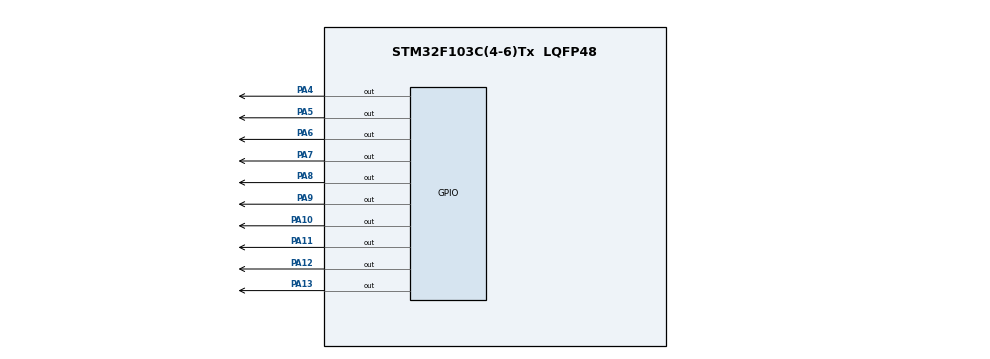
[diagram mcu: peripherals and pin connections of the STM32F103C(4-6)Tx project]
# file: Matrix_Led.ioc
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Mcu.Family=STM32F1
PD1-OSC_OUT.Mode=HSE-External-Oscillator
PD0-OSC_IN.Signal=RCC_OSC_IN
VP_SYS_VS_ND.Mode=No_Debug
ProjectManager.StackSize=0x400
PD1-OSC_OUT.Signal=RCC_OSC_OUT
PA13.Signal=GPIO_Output
PA12.Signal=GPIO_Output
ProjectManager.TargetToolchain=STM32CubeIDE
PA9.Signal=GPIO_Output
PD0-OSC_IN.Mode=HSE-External-Oscillator
PA5.Signal=GPIO_Output
board=custom
RCC.APB2Freq_Value=8000000
PA8.Signal=GPIO_Output
Mcu.Name=STM32F103C(4-6)Tx
PA4.Signal=GPIO_Output
Mcu.Package=LQFP48
PA6.Signal=GPIO_Output
PA11.Signal=GPIO_Output
PA10.Signal=GPIO_Output
ProjectManager.HeapSize=0x200
NVIC.PriorityGroup=NVIC_PRIORITYGROUP_4
RCC.APB1Freq_Value=8000000
PA7.Signal=GPIO_Output

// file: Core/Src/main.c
/* USER CODE BEGIN Header */
/**
  ******************************************************************************
  * @file           : main.c
  * @brief          : Main program body
  ******************************************************************************
  * @attention
  *
  * <h2><center>&copy; Copyright (c) 2021 STMicroelectronics.
  * All rights reserved.</center></h2>
  *
  * This software component is licensed by ST under BSD 3-Clause license,
  * the "License"; You may not use this file except in compliance with the
  * License. You may obtain a copy of the License at:
  *                        opensource.org/licenses/BSD-3-Clause
  *
  ******************************************************************************
  */
/* USER CODE END Header */
#include "main.h"

/* USER CODE BEGIN PV */
void clearAllClock()
{
	HAL_GPIO_WritePin(GPIOA, GPIO_PIN_4, 0);
	HAL_GPIO_WritePin(GPIOA, GPIO_PIN_5, 0);
	HAL_GPIO_WritePin(GPIOA, GPIO_PIN_6, 0);
	HAL_GPIO_WritePin(GPIOA, GPIO_PIN_7, 0);
	HAL_GPIO_WritePin(GPIOA, GPIO_PIN_8, 0);
	HAL_GPIO_WritePin(GPIOA, GPIO_PIN_9, 1);
	HAL_GPIO_WritePin(GPIOA, GPIO_PIN_10, 1);
	HAL_GPIO_WritePin(GPIOA, GPIO_PIN_11, 1);
	HAL_GPIO_WritePin(GPIOA, GPIO_PIN_12, 1);
	HAL_GPIO_WritePin(GPIOA, GPIO_PIN_13, 1);
}

void setNumberOnClock(int num)
{
	switch(num)
	{
	case 0:
		HAL_GPIO_WritePin(GPIOA, GPIO_PIN_6, 1);
		HAL_GPIO_WritePin(GPIOA, GPIO_PIN_9, 0);
		break;
	case 1:
		HAL_GPIO_WritePin(GPIOA, GPIO_PIN_7, 1);
		HAL_GPIO_WritePin(GPIOA, GPIO_PIN_9, 0);
		break;
	case 2:
			HAL_GPIO_WritePin(GPIOA, GPIO_PIN_8, 1);
			HAL_GPIO_WritePin(GPIOA, GPIO_PIN_10, 0);
			break;
	case 3:
			HAL_GPIO_WritePin(GPIOA, GPIO_PIN_8, 1);
			HAL_GPIO_WritePin(GPIOA, GPIO_PIN_11, 0);
			break;
	case 4:
			HAL_GPIO_WritePin(GPIOA, GPIO_PIN_8, 1);
			HAL_GPIO_WritePin(GPIOA, GPIO_PIN_12, 0);
			break;
	case 5:
			HAL_GPIO_WritePin(GPIOA, GPIO_PIN_7, 1);
			HAL_GPIO_WritePin(GPIOA, GPIO_PIN_13, 0);
			break;
	case 6:
			HAL_GPIO_WritePin(GPIOA, GPIO_PIN_6, 1);
			HAL_GPIO_WritePin(GPIOA, GPIO_PIN_13, 0);
			break;
	case 7:
			HAL_GPIO_WritePin(GPIOA, GPIO_PIN_5, 1);
			HAL_GPIO_WritePin(GPIOA, GPIO_PIN_13, 0);
			break;
	case 8:
			HAL_GPIO_WritePin(GPIOA, GPIO_PIN_4, 1);
			HAL_GPIO_WritePin(GPIOA, GPIO_PIN_12, 0);
			break;
	case 9:
			HAL_GPIO_WritePin(GPIOA, GPIO_PIN_4, 1);
			HAL_GPIO_WritePin(GPIOA, GPIO_PIN_11, 0);
			break;
	case 10:
			HAL_GPIO_WritePin(GPIOA, GPIO_PIN_4, 1);
			HAL_GPIO_WritePin(GPIOA, GPIO_PIN_10, 0);
			break;
	case 11:
			HAL_GPIO_WritePin(GPIOA, GPIO_PIN_5, 1);
			HAL_GPIO_WritePin(GPIOA, GPIO_PIN_9, 0);
			break;
	default:
			break;
	}
}
void clearNumberOnClock(int num)
{
	switch(num)
	{
	case 0:
		HAL_GPIO_WritePin(GPIOA, GPIO_PIN_6, 0);
		HAL_GPIO_WritePin(GPIOA, GPIO_PIN_9, 0);
		break;
	case 1:
		HAL_GPIO_WritePin(GPIOA, GPIO_PIN_7, 0);
		HAL_GPIO_WritePin(GPIOA, GPIO_PIN_9, 0);
		break;
	case 2:
			HAL_GPIO_WritePin(GPIOA, GPIO_PIN_8, 0);
			HAL_GPIO_WritePin(GPIOA, GPIO_PIN_10, 0);
			break;
	case 3:
			HAL_GPIO_WritePin(GPIOA, GPIO_PIN_8, 0);
			HAL_GPIO_WritePin(GPIOA, GPIO_PIN_11, 0);
			break;
	case 4:
			HAL_GPIO_WritePin(GPIOA, GPIO_PIN_8, 0);
			HAL_GPIO_WritePin(GPIOA, GPIO_PIN_12, 0);
			break;
	case 5:
			HAL_GPIO_WritePin(GPIOA, GPIO_PIN_7, 0);
			HAL_GPIO_WritePin(GPIOA, GPIO_PIN_13, 0);
			break;
	case 6:
			HAL_GPIO_WritePin(GPIOA, GPIO_PIN_6, 0);
			HAL_GPIO_WritePin(GPIOA, GPIO_PIN_13, 0);
			break;
	case 7:
			HAL_GPIO_WritePin(GPIOA, GPIO_PIN_5, 0);
			HAL_GPIO_WritePin(GPIOA, GPIO_PIN_13, 0);
			break;
	case 8:
			HAL_GPIO_WritePin(GPIOA, GPIO_PIN_4, 0);
			HAL_GPIO_WritePin(GPIOA, GPIO_PIN_12, 0);
			break;
	case 9:
			HAL_GPIO_WritePin(GPIOA, GPIO_PIN_4, 0);
			HAL_GPIO_WritePin(GPIOA, GPIO_PIN_11, 0);
			break;
	case 10:
			HAL_GPIO_WritePin(GPIOA, GPIO_PIN_4, 0);
			HAL_GPIO_WritePin(GPIOA, GPIO_PIN_10, 0);
			break;
	case 11:
			HAL_GPIO_WritePin(GPIOA, GPIO_PIN_5, 0);
			HAL_GPIO_WritePin(GPIOA, GPIO_PIN_9, 0);
			break;
	default:
			break;
	}
}
/* USER CODE END PV */

void SystemClock_Config(void);
static void MX_GPIO_Init(void);

int main(void)
{

  /* MCU Configuration--------------------------------------------------------*/

  /* Reset of all peripherals, Initializes the Flash interface and the Systick. */
  HAL_Init();

  /* Configure the system clock */
  SystemClock_Config();

  /* Initialize all configured peripherals */
  MX_GPIO_Init();

  /* Infinite loop */
  /* USER CODE BEGIN WHILE */
  int hour = 12;
  int min = 34;
  int sec = 40;
  int num_hour;
  int num_min;
  int num_sec;
  int time=0;
  while (1)
  {
    /* USER CODE END WHILE */
	 /*
	  //Exercise 6

	  HAL_GPIO_WritePin(GPIOA, GPIO_PIN_6, 1);
	  HAL_GPIO_WritePin(GPIOA, GPIO_PIN_10, 1);
	  HAL_GPIO_WritePin(GPIOA, GPIO_PIN_11, 1);
	  HAL_GPIO_WritePin(GPIOA, GPIO_PIN_12, 1);
	  HAL_GPIO_WritePin(GPIOA, GPIO_PIN_13, 1);
	  HAL_GPIO_WritePin(GPIOA, GPIO_PIN_14, 1);
	  HAL_GPIO_WritePin(GPIOA, GPIO_PIN_15, 1);
	  HAL_Delay(1000);
	  HAL_GPIO_WritePin(GPIOA, GPIO_PIN_6, 0);
	  HAL_GPIO_WritePin(GPIOA, GPIO_PIN_7, 1);
	  HAL_Delay(1000);
	  HAL_GPIO_WritePin(GPIOA, GPIO_PIN_7, 0);
	  HAL_GPIO_WritePin(GPIOA, GPIO_PIN_8, 1);
	  HAL_GPIO_WritePin(GPIOA, GPIO_PIN_9, 1);
	  HAL_GPIO_WritePin(GPIOA, GPIO_PIN_10, 0);
	  HAL_Delay(1000);
	  HAL_GPIO_WritePin(GPIOA, GPIO_PIN_10, 1);
	  HAL_GPIO_WritePin(GPIOA, GPIO_PIN_11, 0);
	  HAL_Delay(1000);
	  HAL_GPIO_WritePin(GPIOA, GPIO_PIN_11, 1);
	  HAL_GPIO_WritePin(GPIOA, GPIO_PIN_12, 0);
	  HAL_Delay(1000);
	  HAL_GPIO_WritePin(GPIOA, GPIO_PIN_7, 1);
	  HAL_GPIO_WritePin(GPIOA, GPIO_PIN_13, 0);
	  HAL_GPIO_WritePin(GPIOA, GPIO_PIN_12, 1);
	  HAL_GPIO_WritePin(GPIOA, GPIO_PIN_8, 0);
	  HAL_Delay(1000);
	  HAL_GPIO_WritePin(GPIOA, GPIO_PIN_7, 0);
	  HAL_GPIO_WritePin(GPIOA, GPIO_PIN_6, 1);
	  HAL_Delay(1000);
	  HAL_GPIO_WritePin(GPIOA, GPIO_PIN_6, 0);
	  HAL_GPIO_WritePin(GPIOA, GPIO_PIN_5, 1);
	  HAL_Delay(1000);
	  HAL_GPIO_WritePin(GPIOA, GPIO_PIN_5, 0);
	  HAL_GPIO_WritePin(GPIOA, GPIO_PIN_4, 1);
	  HAL_GPIO_WritePin(GPIOA, GPIO_PIN_12, 0);
	  HAL_GPIO_WritePin(GPIOA, GPIO_PIN_13, 1);
	  HAL_Delay(1000);
	  HAL_GPIO_WritePin(GPIOA, GPIO_PIN_11, 0);
	  HAL_GPIO_WritePin(GPIOA, GPIO_PIN_12, 1);
	  HAL_Delay(1000);
	  HAL_GPIO_WritePin(GPIOA, GPIO_PIN_10, 0);
	  HAL_GPIO_WritePin(GPIOA, GPIO_PIN_11, 1);
	  HAL_Delay(1000);
	  HAL_GPIO_WritePin(GPIOA, GPIO_PIN_10, 1);
	  HAL_GPIO_WritePin(GPIOA, GPIO_PIN_4, 0);
	  HAL_GPIO_WritePin(GPIOA, GPIO_PIN_5, 1);
	  HAL_GPIO_WritePin(GPIOA, GPIO_PIN_9, 0);
	  HAL_Delay(1000);
	  HAL_GPIO_WritePin(GPIOA, GPIO_PIN_5, 0);
		*/

	 /*

	  // Exercise 6 sau khi da thuc hien Ex7,8,9

	  for(int i=0; i<12;i++)
	  {
		  clearAllClock();
		  setNumberOnClock(i);
		  HAL_Delay(1000);
		  clearNumberOnClock(i);
	  }*/

	  // Exercise 10

	  num_hour = hour%12;
	  num_min = min/5;
	  num_sec = sec/5;
	  clearAllClock();
	  setNumberOnClock(num_hour);
	  HAL_Delay(1);
	  time++;
	  clearAllClock();
	  setNumberOnClock(num_min);
	  HAL_Delay(1);
	  time++;
	  clearAllClock();
	  setNumberOnClock(num_sec);
	  HAL_Delay(1);
	  time++;
	  clearAllClock();

	  if(time==99)
	  {
		  time=0;
		  sec++;
	  }
	  if(sec==59)
	  {
		  sec=0;
		  min++;
	  }
	  if(min==59)
	  {
		  min=0;
		  hour++;
	  }
	  if(hour==12) hour = 0;
  }
}

void SystemClock_Config(void)
{
  RCC_OscInitTypeDef RCC_OscInitStruct = {0};
  RCC_ClkInitTypeDef RCC_ClkInitStruct = {0};

  /** Initializes the RCC Oscillators according to the specified parameters
  * in the RCC_OscInitTypeDef structure.
  */
  RCC_OscInitStruct.OscillatorType = RCC_OSCILLATORTYPE_HSI;
  RCC_OscInitStruct.HSIState = RCC_HSI_ON;
  RCC_OscInitStruct.HSICalibrationValue = RCC_HSICALIBRATION_DEFAULT;
  RCC_OscInitStruct.PLL.PLLState = RCC_PLL_NONE;
  if (HAL_RCC_OscConfig(&RCC_OscInitStruct) != HAL_OK)
  {
    Error_Handler();
  }
  /** Initializes the CPU, AHB and APB buses clocks
  */
  RCC_ClkInitStruct.ClockType = RCC_CLOCKTYPE_HCLK|RCC_CLOCKTYPE_SYSCLK
                              |RCC_CLOCKTYPE_PCLK1|RCC_CLOCKTYPE_PCLK2;
  RCC_ClkInitStruct.SYSCLKSource = RCC_SYSCLKSOURCE_HSI;
  RCC_ClkInitStruct.AHBCLKDivider = RCC_SYSCLK_DIV1;
  RCC_ClkInitStruct.APB1CLKDivider = RCC_HCLK_DIV1;
  RCC_ClkInitStruct.APB2CLKDivider = RCC_HCLK_DIV1;

  if (HAL_RCC_ClockConfig(&RCC_ClkInitStruct, FLASH_LATENCY_0) != HAL_OK)
  {
    Error_Handler();
  }
}

static void MX_GPIO_Init(void)
{
  GPIO_InitTypeDef GPIO_InitStruct = {0};

  /* GPIO Ports Clock Enable */
  __HAL_RCC_GPIOD_CLK_ENABLE();
  __HAL_RCC_GPIOA_CLK_ENABLE();

  /*Configure GPIO pin Output Level */
  HAL_GPIO_WritePin(GPIOA, GPIO_PIN_4|GPIO_PIN_5|GPIO_PIN_6|GPIO_PIN_7
                          |GPIO_PIN_8|GPIO_PIN_9|GPIO_PIN_10|GPIO_PIN_11
                          |GPIO_PIN_12|GPIO_PIN_13, GPIO_PIN_RESET);

  /*Configure GPIO pins : PA4 PA5 PA6 PA7
                           PA8 PA9 PA10 PA11
                           PA12 PA13 */
  GPIO_InitStruct.Pin = GPIO_PIN_4|GPIO_PIN_5|GPIO_PIN_6|GPIO_PIN_7
                          |GPIO_PIN_8|GPIO_PIN_9|GPIO_PIN_10|GPIO_PIN_11
                          |GPIO_PIN_12|GPIO_PIN_13;
  GPIO_InitStruct.Mode = GPIO_MODE_OUTPUT_PP;
  GPIO_InitStruct.Pull = GPIO_NOPULL;
  GPIO_InitStruct.Speed = GPIO_SPEED_FREQ_LOW;
  HAL_GPIO_Init(GPIOA, &GPIO_InitStruct);

}

void Error_Handler(void)
{
  __disable_irq();
  while (1)
  {
  }
}

/************************ (C) COPYRIGHT STMicroelectronics *****END OF FILE****/
